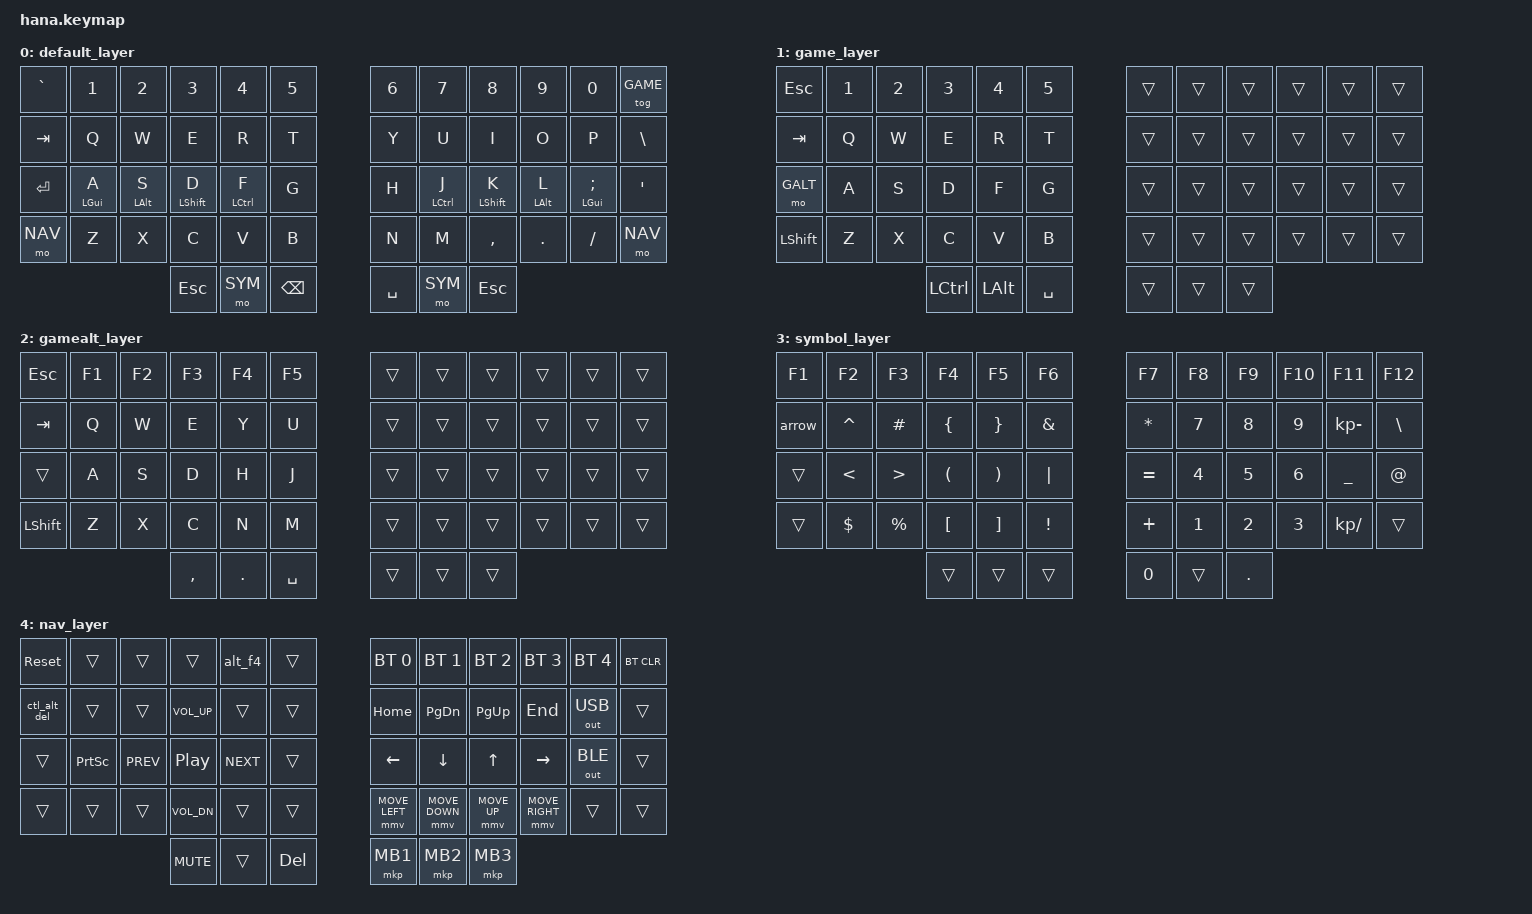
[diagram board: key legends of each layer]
/*
 * Copyright (c) 2020 The ZMK Contributors
 *
 * SPDX-License-Identifier: MIT
 */

#include <behaviors.dtsi>
#include <dt-bindings/zmk/keys.h>
#include <dt-bindings/zmk/bt.h>
#include <dt-bindings/zmk/ext_power.h>
#include <dt-bindings/zmk/outputs.h>
#include <dt-bindings/zmk/pointing.h>

#define DEFAULT   0
#define GAME      1
#define GALT      2
#define SYM       3
#define NAV       4

/ {
    behaviors {
        hm: homerow_mods {
            compatible = "zmk,behavior-hold-tap";
            #binding-cells = <2>;
            tapping-term-ms = <150>;
            quick-tap-ms = <0>;
            flavor = "tap-preferred";
            bindings = <&kp>, <&kp>;
        };
    };

    macros {
        ctl_alt_del: ctl_alt_del {
            compatible = "zmk,behavior-macro";
            #binding-cells = <0>;
            bindings
                = <&macro_press &kp LCTL &kp LALT>
                , <&macro_tap &kp DEL>
                , <&macro_release &kp LCTL &kp LALT>
                ;
        };

        alt_f4: alt_f4 {
            compatible = "zmk,behavior-macro";
            #binding-cells = <0>;
            bindings
                = <&macro_press &kp LALT>
                , <&macro_tap &kp F4>
                , <&macro_release &kp LALT>
                ;
        };

        arrow: arrow {
            compatible = "zmk,behavior-macro";
            #binding-cells = <0>;
            wait-ms = <40>;
            tap-ms = <40>;
            bindings
                = <&kp KP_MINUS &kp GT >
                ;
        };
    };

    keymap {
        compatible = "zmk,keymap";

        default_layer {
// ------------------------------------------------------------------------------------------
// |  `    |  1  |  2  |  3   |  4   |  5   | |  6   |  7    |  8    |  9   |   0   | GAME  |
// ------------------------------------------------------------------------------------------
// |  TAB  |  Q  |  W  |  E   |  R   |  T   | |  Y   |  U    |  I    |  O   |   P   |   \   |
// ------------------------------------------------------------------------------------------
// | ENTER |  A  |  S  |  D   |  F   |  G   | |  H   |  J    |  K    |  L   |   ;   |   '   |
// |       | gui | alt | shft | ctl  |      | |      |  ctl  | shft  | alt  |  gui  |       |
// ------------------------------------------------------------------------------------------
// |  NAV  |  Z  |  X  |  C   |  V   |  B   | |  N   |  M    |  ,    |  .   |   /   |  NAV  |
// ------------------------------------------------------------------------------------------
//                     | ESC  | SYM  | BSPC | | SPACE|  SYM  | ESC   |
//                     -----------------------------------------------                       
            bindings = <
&kp GRAVE   &kp N1     &kp N2     &kp N3      &kp N4     &kp N5           &kp N6    &kp N7     &kp N8      &kp N9     &kp N0        &tog GAME
&kp TAB     &kp Q      &kp W      &kp E       &kp R      &kp T            &kp Y     &kp U      &kp I       &kp O      &kp P         &kp BSLH
&kp ENTER   &hm LGUI A &hm LALT S &hm LSHFT D &hm LCTL F &kp G            &kp H     &hm LCTL J &hm LSHFT K &hm LALT L &hm LGUI SEMI &kp SQT
&mo NAV     &kp Z      &kp X      &kp C       &kp V      &kp B            &kp N     &kp M      &kp COMMA   &kp DOT    &kp FSLH      &mo NAV
                                  &kp ESC    &mo SYM     &kp BSPC         &kp SPACE &mo SYM    &kp ESC
            >;
        };

        game_layer {
// ------------------------------------------------------------------------------------------
// |  ESC  |  1  |  2  |  3   |  4   |  5   | |      |       |       |      |       |       |
// ------------------------------------------------------------------------------------------
// |  TAB  |  Q  |  W  |  E   |  R   |  T   | |      |       |       |      |       |       |
// ------------------------------------------------------------------------------------------
// | GALT  |  A  |  S  |  D   |  F   |  G   | |      |       |       |      |       |       |
// ------------------------------------------------------------------------------------------
// | LSHIFT|  Z  |  X  |  C   |  V   |  B   | |      |       |       |      |       |       |
// ------------------------------------------------------------------------------------------
//                     | LCTL | ALT  |  SPC | |      |       |       |
//                     -----------------------------------------------                       
            bindings = <
&kp ESC   &kp N1 &kp N2 &kp N3   &kp N4   &kp N5           &trans &trans &trans &trans &trans &trans
&kp TAB   &kp Q  &kp W  &kp E    &kp R    &kp T            &trans &trans &trans &trans &trans &trans
&mo GALT  &kp A  &kp S  &kp D    &kp F    &kp G            &trans &trans &trans &trans &trans &trans
&kp LSHFT &kp Z  &kp X  &kp C    &kp V    &kp B            &trans &trans &trans &trans &trans &trans
                        &kp LCTL &kp LALT &kp SPACE        &trans &trans &trans 
            >;
        };

        gamealt_layer {
// ------------------------------------------------------------------------------------------
// |  ESC  |  F1 | F2  | F3   | F4   | F5   | |      |       |       |      |       |       |
// ------------------------------------------------------------------------------------------
// |  TAB  |  Q  |  W  |  E   |  Y   |  U   | |      |       |       |      |       |       |
// ------------------------------------------------------------------------------------------
// |       |  A  |  S  |  D   |  H   |  J   | |      |       |       |      |       |       |
// ------------------------------------------------------------------------------------------
// | LSHIFT|  Z  |  X  |  C   |  N   |  M   | |      |       |       |      |       |       |
// ------------------------------------------------------------------------------------------
//                     |  ,   |  .   |  SPC | |      |       |       |
//                     -----------------------------------------------                       
            bindings = <
&kp ESC   &kp F1 &kp F2 &kp F3    &kp F4   &kp F5           &trans &trans &trans &trans &trans &trans
&kp TAB   &kp Q  &kp W  &kp E     &kp Y    &kp U            &trans &trans &trans &trans &trans &trans
&trans    &kp A  &kp S  &kp D     &kp H    &kp J            &trans &trans &trans &trans &trans &trans
&kp LSHFT &kp Z  &kp X  &kp C     &kp N    &kp M            &trans &trans &trans &trans &trans &trans
                        &kp COMMA &kp DOT &kp SPACE         &trans &trans &trans 
            >;
        };

        symbol_layer {
// ------------------------------------------------------------------------------------------
// |  F1   | F2  | F3  | F4   | F5   |  F6  | |  F7  |  F8   |  F9   | F10  |  F11  |  F12  |
// ------------------------------------------------------------------------------------------
// |   ->  |  ^  |  #  |  {   |  }   |  &   | |  *   |   7   |   8   |  9   |   -   |   \   |
// ------------------------------------------------------------------------------------------
// |       |  <  |  >  |  (   |  )   |  |   | |  =   |   4   |   5   |  6   |   _   |   @   |
// ------------------------------------------------------------------------------------------
// |       |  $  |  %  |  [   |  ]   |  !   | |  +   |   1   |   2   |  3   |   /   |       |
// ------------------------------------------------------------------------------------------
//                     |      |      |      | |  0   |       |   .   |
//                     -----------------------------------------------                       
            bindings = <
&kp F1    &kp F2      &kp F3    &kp F4    &kp F5   &kp F6           &kp F7       &kp F8   &kp F9    &kp F10  &kp F11       &kp F12
&arrow    &kp CARET   &kp HASH  &kp LBRC  &kp RBRC &kp AMPS         &kp ASTRK     &kp N7   &kp N8    &kp N9   &kp KP_MINUS  &kp BSLH
&trans    &kp LT      &kp GT    &kp LPAR  &kp RPAR &kp PIPE         &kp EQUAL &kp N4   &kp N5    &kp N6   &kp UNDER     &kp AT
&trans    &kp DOLLAR  &kp PRCNT &kp LBKT  &kp RBKT &kp EXCL         &kp PLUS    &kp N1   &kp N2    &kp N3   &kp KP_DIVIDE &trans
                                &trans    &trans   &trans           &kp N0       &trans   &kp DOT
            >;
        };

        nav_layer {
// ------------------------------------------------------------------------------------------
// |  RST  |     |     |      |alt+f4|      | | BT1  |  BT2  |  BT3  | BT4  |  BT5  | BTCLR |
// ------------------------------------------------------------------------------------------
// | c+a+d |     |     |  V+  |      |      | | Home | PgDn  | PgUp  | End  | OUTUSB|       |
// ------------------------------------------------------------------------------------------
// |       |Prtsc| <<  | Play |  >>  |      | |  <   |   v   |  ^    |  >   | OUTBLE|       |
// ------------------------------------------------------------------------------------------
// |       |     |     |  V-  |      |      | | m<   |  mv   | m^    | m>   |       |       |
// ------------------------------------------------------------------------------------------
//                     | Mute |      | DEL  | |lclk | rclk  | mclk   |
//                     -----------------------------------------------                       
            bindings = <
&sys_reset   &trans    &trans     &trans       &alt_f4    &trans           &bt BT_SEL 0     &bt BT_SEL 1      &bt BT_SEL 2      &bt BT_SEL 3 &bt BT_SEL 4 &bt BT_CLR
&ctl_alt_del &trans    &trans     &kp C_VOL_UP &trans     &trans           &kp HOME  &kp PG_DN &kp PG_UP &kp END   &out OUT_USB &trans
&trans       &kp PSCRN &kp C_PREV &kp C_PP     &kp C_NEXT &trans           &kp LEFT  &kp DOWN  &kp UP    &kp RIGHT &out OUT_BLE &trans
&trans       &trans    &trans     &kp C_VOL_DN &trans     &trans           &mmv MOVE_LEFT    &mmv MOVE_DOWN    &mmv MOVE_UP    &mmv MOVE_RIGHT    &trans &trans
                                  &kp C_MUTE   &trans     &kp DEL          &mkp MB1    &mkp MB2    &mkp MB3
            >;
        };

    };
};
